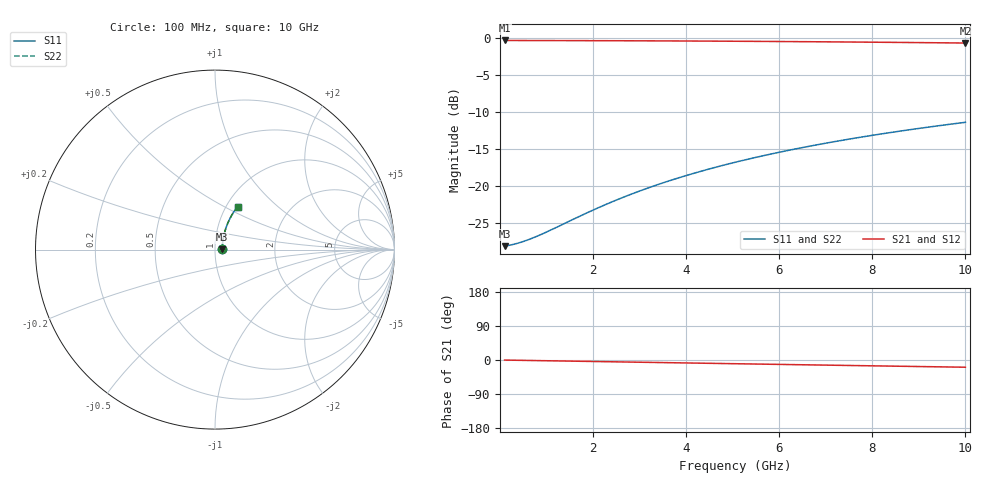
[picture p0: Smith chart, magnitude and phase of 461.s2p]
# Hz S RI R 50.00
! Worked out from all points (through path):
!   100 points, 100 MHz to 10 GHz, reference 50 ohm
!   highest |S21| = -0.35 dB at 100 MHz (marker M1); lowest = -0.7 dB at 10 GHz (marker M2)
!   group delay of S21, straight-line fit = 5.31 ps
!   lowest |S11| = -28.1 dB at 100 MHz (marker M3), VSWR 1.08, Z = 54.1 + j0.287 ohm
!   |S11| at or under -10 dB: start of sweep to end of sweep
!   |S22| runs from -28.1 to -11.4 dB; largest |S21 - S12| = 0
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1e8  0.0393 0.00265  0.9607 -0.00328  0.9607 -0.00328  0.0393 0.00265
3e8  0.0398 0.00794  0.9602 -0.00983  0.9602 -0.00983  0.0398 0.00794
4e8  0.04 0.0106  0.96 -0.0131  0.96 -0.0131  0.04 0.0106
5e8  0.0402 0.0132  0.9598 -0.0164  0.9598 -0.0164  0.0402 0.0132
7e8  0.0406 0.0185  0.9594 -0.0229  0.9594 -0.0229  0.0406 0.0185
1e9  0.0413 0.0264  0.9587 -0.0327  0.9587 -0.0327  0.0413 0.0264
1.8e9  0.0438 0.0474  0.9561 -0.0587  0.9561 -0.0587  0.0438 0.0474
2.2e9  0.0454 0.0578  0.9545 -0.0716  0.9545 -0.0716  0.0454 0.0578
2.6e9  0.0473 0.0681  0.9526 -0.0845  0.9526 -0.0845  0.0473 0.0681
3e9  0.0494 0.0784  0.9504 -0.0973  0.9504 -0.0973  0.0494 0.0784
3.4e9  0.0518 0.0886  0.948 -0.11  0.948 -0.11  0.0518 0.0886
3.8e9  0.0544 0.0987  0.9453 -0.1227  0.9453 -0.1227  0.0544 0.0987
4.2e9  0.0573 0.1088  0.9423 -0.1352  0.9423 -0.1352  0.0573 0.1088
4.6e9  0.0605 0.1187  0.9391 -0.1476  0.9391 -0.1476  0.0605 0.1187
5.1e9  0.0648 0.1309  0.9346 -0.163  0.9346 -0.163  0.0648 0.1309
5.5e9  0.0685 0.1406  0.9308 -0.1752  0.9308 -0.1752  0.0685 0.1406
5.9e9  0.0725 0.1501  0.9268 -0.1872  0.9268 -0.1872  0.0725 0.1501
6.7e9  0.0811 0.1687  0.9179 -0.2109  0.9179 -0.2109  0.0811 0.1687
7.5e9  0.0906 0.1867  0.9082 -0.234  0.9082 -0.234  0.0906 0.1867
8.4e9  0.1024 0.2061  0.8962 -0.2591  0.8962 -0.2591  0.1024 0.2061
9.2e9  0.1136 0.2226  0.8846 -0.2807  0.8846 -0.2807  0.1136 0.2226
1e10  0.1256 0.2384  0.8723 -0.3016  0.8723 -0.3016  0.1256 0.2384
